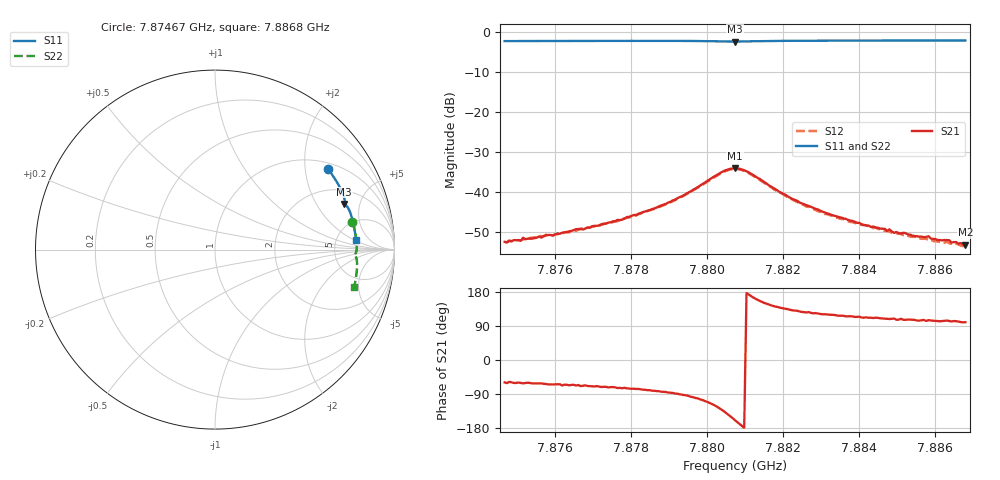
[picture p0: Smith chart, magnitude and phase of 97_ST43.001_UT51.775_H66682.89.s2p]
#  HZ  S  DB  R  50.00
! Rohde & Schwarz Vector Network Analyzer
! Rohde-Schwarz,ZNB20-2Port,1311601062101988,3.16
! Created: UTC 1/12/2023, 6:36:25 PM
! freq[Hz]  db:S11  ang:S11  db:S21  ang:S21  db:S12  ang:S12  db:S22  ang:S22
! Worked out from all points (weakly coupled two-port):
!   201 points, 7.87467 GHz to 7.8868 GHz, reference 50 ohm
!   highest |S21| = -34.08 dB at 7.88074 GHz (marker M1); lowest = -53.2 dB at 7.8868 GHz (marker M2)
!   lowest |S11| = -2.3 dB at 7.88074 GHz (marker M3), VSWR 7.45, Z = 146 + j178 ohm
!   |S11| at or under -10 dB: nowhere
!   |S22| runs from -2.2 to -1.9 dB; largest |S21 - S12| = 0.0013
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7.874673e9  -2.24 35.4  -52.53 -59.2  -52.47 -60.7  -2.15 11.4
7.875522e9  -2.22 33.1  -51.46 -61.9  -51.55 -64.9  -2.11 9.4
7.875764e9  -2.22 32.4  -50.93 -63.3  -50.70 -67.2  -2.11 8.8
7.875825e9  -2.21 32.3  -50.79 -64.6  -51.19 -66.8  -2.10 8.7
7.876735e9  -2.20 29.8  -49.45 -67.8  -49.10 -71.6  -2.08 6.5
7.877645e9  -2.19 27.3  -47.00 -74.0  -47.34 -76.4  -2.06 4.4
7.878736e9  -2.18 24.3  -43.63 -82.3  -43.80 -86.4  -2.05 1.8
7.879404e9  -2.20 22.4  -40.77 -92.7  -40.87 -95.7  -2.05 0.2
7.880435e9  -2.32 19.7  -34.84 -134.5  -35.00 -137.8  -2.18 -2.1
7.880738e9  -2.35 19.4  -34.08 -159.0  -34.26 -162.1  -2.21 -2.3
7.881041e9  -2.31 19.1  -34.85 176.5  -34.99 173.2  -2.17 -2.4
7.882194e9  -2.16 16.1  -41.52 132.4  -41.65 128.8  -2.01 -4.8
7.8828e9  -2.14 14.5  -44.01 123.2  -44.31 119.9  -1.98 -6.2
7.884074e9  -2.11 11.0  -48.14 112.0  -48.27 109.7  -1.95 -9.1
7.884741e9  -2.10 9.3  -49.78 108.7  -49.84 105.2  -1.93 -10.6
7.884802e9  -2.10 9.1  -49.40 108.1  -49.91 106.3  -1.94 -10.8
7.884923e9  -2.10 8.8  -50.27 109.5  -50.24 104.8  -1.93 -11.0
7.885833e9  -2.09 6.4  -51.11 105.2  -52.02 101.4  -1.92 -13.0
7.886075e9  -2.09 5.7  -52.08 102.7  -52.41 99.3  -1.92 -13.6
7.886379e9  -2.08 5.0  -52.12 102.7  -52.89 98.6  -1.92 -14.2
7.886439e9  -2.09 4.8  -52.74 101.6  -53.04 98.4  -1.92 -14.3
7.886803e9  -2.08 3.9  -53.20 99.7  -53.49 96.2  -1.91 -15.1
